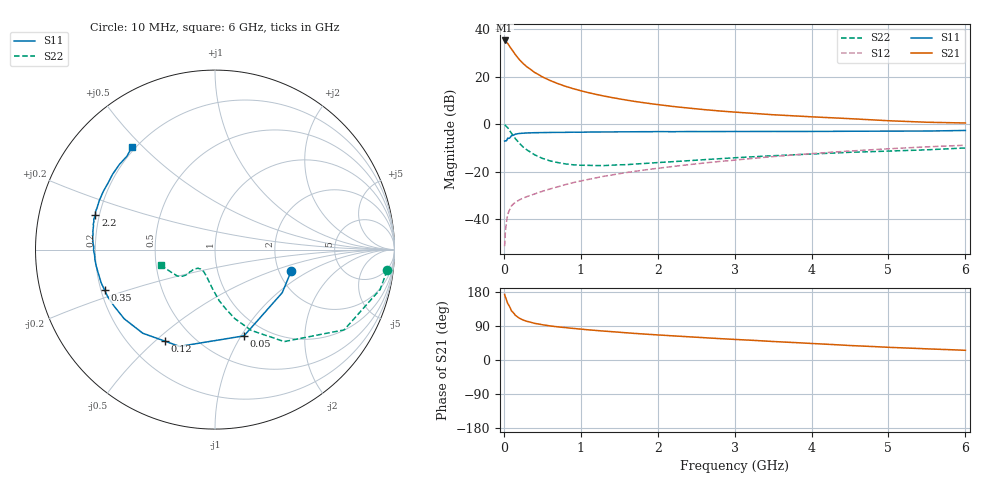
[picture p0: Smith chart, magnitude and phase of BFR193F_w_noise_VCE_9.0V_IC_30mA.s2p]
! Infineon Technologies  Discrete & RF Semiconductors
! BFR193F
! VCE =  9.0 V,  IC =  30 mA
! Common Emitter S-Parameters:  Jan 2017
# GHz  S  MA  R  50
!  f  S11  S21  S12  S22
! GHz  MAG  ANG  MAG  ANG  MAG  ANG  MAG  ANG
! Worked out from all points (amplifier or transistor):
!   77 points, 10 MHz to 6 GHz, reference 50 ohm
!   highest |S21| = 35.2 dB at 10 MHz (marker M1)
!   |S21| within 3 dB of that: start of sweep to 85.68 MHz
!   unconditionally stable (mu >= 1): 1.156 GHz to 2.64 GHz
!   at 130 MHz: K = 0.35, MSG = 31.8 dB, |S12| = -33.4 dB
!   at 2.2 GHz: K = 1.02, MAG = 11.7 dB, |S12| = -17.8 dB
!   at 6 GHz: K = 0.84, MSG = 4.7 dB, |S12| = -8.9 dB
!   lowest NFmin = 1.18 dB at 450 MHz
!   S11 on the Smith chart (normalised r, x): 10 MHz: 2.33, -0.69; 50 MHz: 0.80, -1.03; 120 MHz: 0.35, -0.54; 350 MHz: 0.21, -0.17; 2.2 GHz: 0.18, +0.14; 6 GHz: 0.19, +0.46
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0.01  0.4412 -15.7  57.69 173.1  0.0027 85.0  0.9661 -6.9
0.02  0.445 -32.7  56.07 166.3  0.0054 79.5  0.9465 -13.6
0.05  0.5069 -71.4  50.09 149.2  0.0125 66.8  0.8469 -31.9
0.1  0.5744 -110.1  37.89 129.4  0.0191 55.8  0.6417 -53.0
0.12  0.5815 -118.7  34.15 125.5  0.0206 53.5  0.5792 -57.3
0.15  0.6156 -130.8  28.94 117.9  0.0228 50.5  0.4936 -65.8
0.2  0.636 -142.7  22.99 110.5  0.0253 48.6  0.3999 -74.0
0.25  0.6445 -150.8  18.9 105.5  0.0277 48.9  0.3307 -80.2
0.3  0.6527 -156.1  16.05 102.0  0.0298 51.0  0.2865 -85.2
0.35  0.6552 -159.9  14.13 99.7  0.0318 52.1  0.2557 -88.4
0.4  0.6606 -163.6  12.24 96.6  0.0339 53.1  0.226 -92.5
0.5  0.6635 -168.5  9.896 93.1  0.0385 57.1  0.1908 -98.6
0.6  0.6679 -172.1  8.309 90.0  0.0432 59.3  0.1684 -103.7
0.8  0.6715 -177.4  6.262 85.5  0.0534 63.2  0.1455 -112.6
1.1  0.6807 176.9  4.597 79.6  0.0686 67.5  0.1357 -121.9
1.5  0.6881 171.5  3.404 73.3  0.0905 70.2  0.1391 -130.6
2.1  0.6948 165.0  2.467 65.0  0.123 71.5  0.1587 -136.5
2.2  0.6933 164.0  2.355 63.7  0.1286 71.5  0.1623 -136.8
3.1  0.7 156.2  1.747 53.3  0.1812 71.1  0.1999 -138.2
4.1  0.7027 147.4  1.4 42.6  0.2458 68.0  0.2386 -141.6
5.1  0.7132 137.4  1.162 32.7  0.3085 63.1  0.274 -152.5
6  0.7362 128.9  1.057 25.6  0.3597 57.9  0.3151 -163.8
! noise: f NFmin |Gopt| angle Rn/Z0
0.45  1.18  0.39  176  0.06
0.9  1.27  0.42  176  0.07
1.9  1.84  0.57  -168  0.07
2.4  2.13  0.61  -159  0.11
